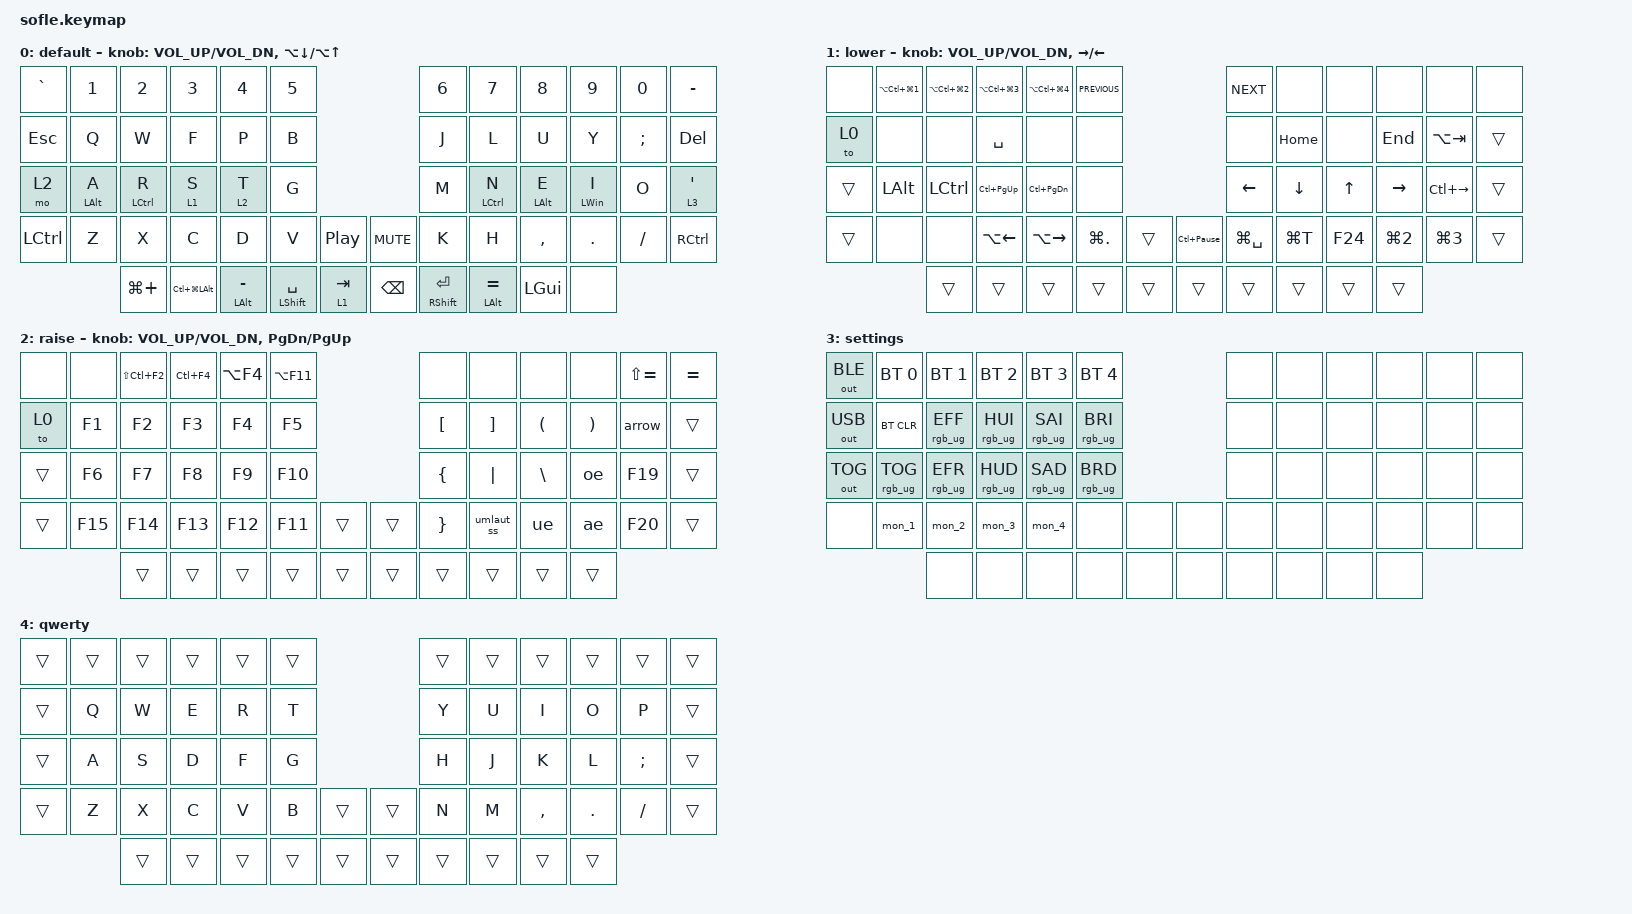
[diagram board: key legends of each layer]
/*
 * Copyright (c) 2020 The ZMK Contributors
 *
 * SPDX-License-Identifier: MIT
 */

#include <behaviors.dtsi>
#include <dt-bindings/zmk/bt.h>
#include <dt-bindings/zmk/keys.h>
#include <dt-bindings/zmk/outputs.h>
#include <dt-bindings/zmk/rgb.h>

&mt {
    flavor = "tap-preferred";
    require-prior-idle-ms = <125>;
};

&lt {
    flavor = "tap-preferred";
    require-prior-idle-ms = <125>;
};

/ {
    behaviors {
        mtt: mod_tap_thumb {
            compatible = "zmk,behavior-hold-tap";
            label = "MOD_TAP_THUMB";
            #binding-cells = <2>;
            flavor = "hold-preferred";
            tapping-term-ms = <200>;
            quick-tap-ms = <200>;
            bindings = <&kp>, <&kp>;
        };

        oe: oe {
            compatible = "zmk,behavior-mod-morph";
            label = "OE";
            #binding-cells = <0>;
            bindings = <&umlaut_oe>, <&umlaut_Oe_big>;

            mods = <(MOD_LSFT|MOD_RSFT)>;
        };

        ae: ae {
            compatible = "zmk,behavior-mod-morph";
            label = "AE";
            #binding-cells = <0>;
            bindings = <&umlaut_ae>, <&umlaut_Ae_big>;

            mods = <(MOD_LSFT|MOD_RSFT)>;
        };

        ue: ue {
            compatible = "zmk,behavior-mod-morph";
            label = "UE";
            #binding-cells = <0>;
            bindings = <&umlaut_ue>, <&umlaut_Ue_big>;

            mods = <(MOD_LSFT|MOD_RSFT)>;
        };
    };

    combos {
        compatible = "zmk,combos";
        timeout-ms = <25>;

        toggle_numpad {
            bindings = <&kp KP_NUMLOCK>;
            key-positions = <0 1>;
        };

        mo_settings {
            bindings = <&mo 4>;
            key-positions = <50 51 52>;
        };

        toggle_qwerty {
            bindings = <&tog 4>;
            key-positions = <36 37>;
        };
    };

    macros {
        umlaut_Ae_big: umlaut_Ae_big {
            compatible = "zmk,behavior-macro";
            label = "Ae";
            #binding-cells = <0>;
            bindings =
                <&macro_press>,
                <&kp LALT>,
                <&macro_tap>,
                <&kp KP_NUMBER_0 &kp KP_NUMBER_1 &kp KP_NUMBER_9 &kp KP_NUMBER_6>,
                <&macro_release>,
                <&kp LALT>;

            wait-ms = <5>;
            tap-ms = <5>;
        };

        umlaut_Oe_big: umlaut_Oe_big {
            compatible = "zmk,behavior-macro";
            label = "Oe";
            #binding-cells = <0>;
            bindings =
                <&macro_press>,
                <&kp LALT>,
                <&macro_tap>,
                <&kp KP_NUMBER_0 &kp KP_NUMBER_2 &kp KP_NUMBER_1 &kp KP_NUMBER_4>,
                <&macro_release>,
                <&kp LALT>;

            wait-ms = <5>;
            tap-ms = <5>;
        };

        umlaut_Ue_big: umlaut_Ue_big {
            compatible = "zmk,behavior-macro";
            label = "Ue";
            #binding-cells = <0>;
            bindings =
                <&macro_press>,
                <&kp LALT>,
                <&macro_tap>,
                <&kp KP_NUMBER_0 &kp KP_NUMBER_2 &kp KP_NUMBER_2 &kp KP_NUMBER_0>,
                <&macro_release>,
                <&kp LALT>;

            wait-ms = <5>;
            tap-ms = <5>;
        };

        umlaut_ae: umlaut_ae {
            compatible = "zmk,behavior-macro";
            label = "ae";
            #binding-cells = <0>;
            bindings =
                <&macro_press>,
                <&kp LALT>,
                <&macro_tap>,
                <&kp KP_NUMBER_0 &kp KP_NUMBER_2 &kp KP_NUMBER_2 &kp KP_NUMBER_8>,
                <&macro_release>,
                <&kp LALT>;

            wait-ms = <5>;
            tap-ms = <5>;
        };

        umlaut_oe: umlaut_oe {
            compatible = "zmk,behavior-macro";
            label = "oe";
            #binding-cells = <0>;
            bindings =
                <&macro_press>,
                <&kp LALT>,
                <&macro_tap>,
                <&kp KP_NUMBER_0 &kp KP_NUMBER_2 &kp KP_NUMBER_4 &kp KP_NUMBER_6>,
                <&macro_release>,
                <&kp LALT>;

            wait-ms = <5>;
            tap-ms = <5>;
        };

        umlaut_ue: umlaut_ue {
            compatible = "zmk,behavior-macro";
            label = "ue";
            #binding-cells = <0>;
            bindings =
                <&macro_press>,
                <&kp LALT>,
                <&macro_tap>,
                <&kp KP_NUMBER_0 &kp KP_NUMBER_2 &kp KP_NUMBER_5 &kp KP_NUMBER_2>,
                <&macro_release>,
                <&kp LALT>;

            wait-ms = <5>;
            tap-ms = <5>;
        };

        umlaut_ss: umlaut_ss {
            compatible = "zmk,behavior-macro";
            label = "ss";
            #binding-cells = <0>;
            bindings =
                <&macro_press>,
                <&kp LALT>,
                <&macro_tap>,
                <&kp KP_NUMBER_0 &kp KP_NUMBER_2 &kp KP_NUMBER_2 &kp KP_NUMBER_3>,
                <&macro_release>,
                <&kp LALT>;

            wait-ms = <5>;
            tap-ms = <5>;
        };

        mon_1: mon_1 {
            compatible = "zmk,behavior-macro";
            label = "MON_1";
            #binding-cells = <0>;
            bindings =
                <&macro_tap>,
                <&macro_wait_time 500>,
                <&kp LG(P)>,
                <&macro_wait_time 100>,
                <&kp TAB &kp HOME &kp ENTER &kp ESC>;

            wait-ms = <100>;
            tap-ms = <5>;
        };

        mon_2: mon_2 {
            compatible = "zmk,behavior-macro";
            label = "MON_2";
            #binding-cells = <0>;
            bindings =
                <&macro_tap>,
                <&macro_wait_time 500>,
                <&kp LG(P)>,
                <&macro_wait_time 100>,
                <&kp TAB &kp HOME &kp DOWN_ARROW &kp ENTER &kp ESC>;

            wait-ms = <100>;
            tap-ms = <5>;
        };

        mon_3: mon_3 {
            compatible = "zmk,behavior-macro";
            label = "MON_3";
            #binding-cells = <0>;
            bindings =
                <&macro_tap>,
                <&macro_wait_time 500>,
                <&kp LG(P)>,
                <&macro_wait_time 100>,
                <&kp TAB &kp END &kp UP_ARROW &kp ENTER &kp ESC>;

            wait-ms = <100>;
            tap-ms = <5>;
        };

        mon_4: mon_4 {
            compatible = "zmk,behavior-macro";
            label = "MON_4";
            #binding-cells = <0>;
            bindings =
                <&macro_tap>,
                <&macro_wait_time 500>,
                <&kp LG(P)>,
                <&macro_wait_time 100>,
                <&kp TAB &kp END &kp ENTER &kp ESC>;

            wait-ms = <100>;
            tap-ms = <5>;
        };

        arrow: arrow {
            compatible = "zmk,behavior-macro";
            #binding-cells = <0>;
            bindings = <&kp EQUAL &kp GREATER_THAN>;
            label = "ARROW";
            wait-ms = <5>;
            tap-ms = <5>;
        };
    };

    keymap {
        compatible = "zmk,keymap";

        default {
            bindings = <
&kp GRAVE  &kp NUMBER_1    &kp NUMBER_2  &kp NUMBER_3          &kp N4               &kp N5                                                  &kp N6            &kp N7           &kp N8          &kp N9      &kp N0    &kp MINUS
&kp ESC    &kp Q           &kp W         &kp F                 &kp P                &kp B                                                   &kp J             &kp L            &kp U           &kp Y       &kp SEMI  &kp DEL
&mo 2      &mt LEFT_ALT A  &mt LCTRL R   &lt 1 S               &lt 2 T              &kp G                                                   &kp M             &mt LCTRL N      &mt LEFT_ALT E  &mt LWIN I  &kp O     &lt 3 SINGLE_QUOTE
&kp LCTRL  &kp Z           &kp X         &kp C                 &kp D                &kp V                  &kp C_PLAY_PAUSE  &kp C_MUTE     &kp K             &kp H            &kp COMMA       &kp DOT     &kp FSLH  &kp RCTRL
                           &kp LG(PLUS)  &kp LC(LG(LEFT_ALT))  &mtt LEFT_ALT MINUS  &mtt LEFT_SHIFT SPACE  &lt 1 TAB         &kp BACKSPACE  &mtt RSHFT ENTER  &mtt LALT EQUAL  &kp LEFT_GUI    &none
            >;

            sensor-bindings =
                <&inc_dec_kp C_VOL_UP C_VOL_DN>,
                <&inc_dec_kp LA(DOWN_ARROW) LA(UP_ARROW)>;
        };

        lower {
            bindings = <
&none   &kp LA(LC(LG(NUMBER_1)))  &kp LA(LC(LG(NUMBER_2)))  &kp LA(LC(LG(NUMBER_3)))  &kp LA(LC(LG(NUMBER_4)))  &kp C_PREVIOUS                               &kp C_NEXT     &none           &none         &none             &none             &none
&to 0   &none                     &none                     &kp SPACE                 &none                     &none                                        &none          &kp HOME        &none         &kp END           &kp LA(TAB)       &trans
&trans  &kp LALT                  &kp LCTRL                 &kp LC(PAGE_UP)           &kp LC(PAGE_DOWN)         &none                                        &kp LEFT       &kp DOWN_ARROW  &kp UP_ARROW  &kp RIGHT         &kp LC(RIGHT)     &trans
&trans  &none                     &none                     &kp LA(LEFT)              &kp LA(RIGHT)             &kp LG(DOT)     &trans  &kp LC(PAUSE_BREAK)  &kp LG(SPACE)  &kp LG(T)       &kp F24       &kp LG(NUMBER_2)  &kp LG(NUMBER_3)  &trans
                                  &trans                    &trans                    &trans                    &trans          &trans  &trans               &trans         &trans          &trans        &trans
            >;

            sensor-bindings =
                <&inc_dec_kp C_VOL_UP C_VOL_DN>,
                <&inc_dec_kp RIGHT_ARROW LEFT_ARROW>;
        };

        raise {
            bindings = <
&none   &none    &kp LS(LC(F2))  &kp LC(F4)  &kp LA(F4)  &kp LA(F11)                  &none             &none              &none                 &none     &kp LS(EQUAL)  &kp EQUAL
&to 0   &kp F1   &kp F2          &kp F3      &kp F4      &kp F5                       &kp LEFT_BRACKET  &kp RIGHT_BRACKET  &kp LEFT_PARENTHESIS  &kp RPAR  &arrow         &trans
&trans  &kp F6   &kp F7          &kp F8      &kp F9      &kp F10                      &kp LEFT_BRACE    &kp PIPE           &kp BSLH              &oe       &kp F19        &trans
&trans  &kp F15  &kp F14         &kp F13     &kp F12     &kp F11      &trans  &trans  &kp RIGHT_BRACE   &umlaut_ss         &ue                   &ae       &kp F20        &trans
                 &trans          &trans      &trans      &trans       &trans  &trans  &trans            &trans             &trans                &trans
            >;

            sensor-bindings = <&inc_dec_kp C_VOL_UP C_VOL_DN &inc_dec_kp PG_DN PG_UP>;
        };

        settings {
            bindings = <
&out OUT_BLE  &bt BT_SEL 0     &bt BT_SEL 1     &bt BT_SEL 2     &bt BT_SEL 3     &bt BT_SEL 4                   &none  &none  &none  &none  &none  &none
&out OUT_USB  &bt BT_CLR       &rgb_ug RGB_EFF  &rgb_ug RGB_HUI  &rgb_ug RGB_SAI  &rgb_ug RGB_BRI                &none  &none  &none  &none  &none  &none
&out OUT_TOG  &rgb_ug RGB_TOG  &rgb_ug RGB_EFR  &rgb_ug RGB_HUD  &rgb_ug RGB_SAD  &rgb_ug RGB_BRD                &none  &none  &none  &none  &none  &none
&none         &mon_1           &mon_2           &mon_3           &mon_4           &none            &none  &none  &none  &none  &none  &none  &none  &none
                               &none            &none            &none            &none            &none  &none  &none  &none  &none  &none
            >;
        };

        qwerty {
            bindings = <
&trans  &trans  &trans  &trans  &trans  &trans                  &trans  &trans  &trans     &trans   &trans    &trans
&trans  &kp Q   &kp W   &kp E   &kp R   &kp T                   &kp Y   &kp U   &kp I      &kp O    &kp P     &trans
&trans  &kp A   &kp S   &kp D   &kp F   &kp G                   &kp H   &kp J   &kp K      &kp L    &kp SEMI  &trans
&trans  &kp Z   &kp X   &kp C   &kp V   &kp B   &trans  &trans  &kp N   &kp M   &kp COMMA  &kp DOT  &kp FSLH  &trans
                &trans  &trans  &trans  &trans  &trans  &trans  &trans  &trans  &trans     &trans
            >;
        };
    };
};
